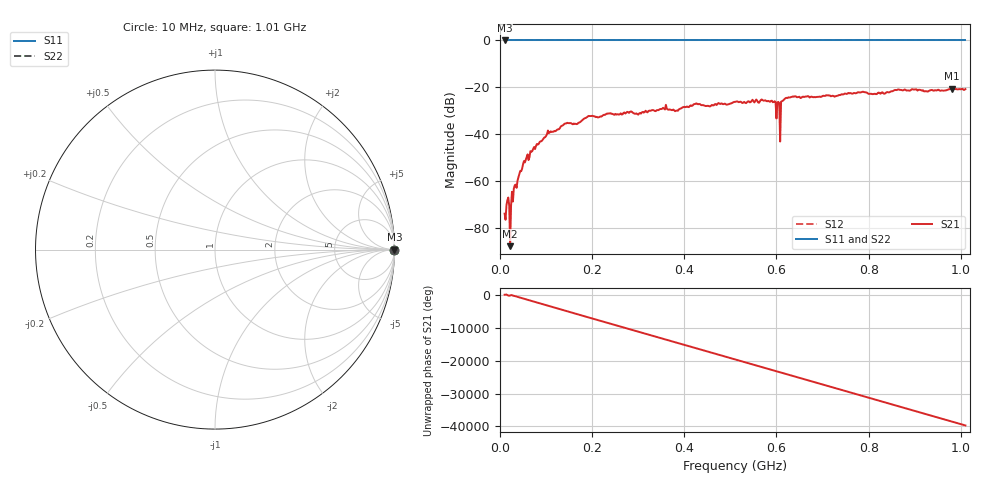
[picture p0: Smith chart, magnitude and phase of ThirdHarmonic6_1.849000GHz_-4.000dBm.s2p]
! 8/16/2025 10:22:16 PM
! C:\ANRITSUVNA\TEMP\TEMP.S2P
! CHANNEL.1
! TR.MEASUREMENT
! RAW.DATA
! RF.CORRECTION.OFF
! AVERAGING.OFF
! IF.BANDWIDTH: 5KHZ
! SWEEPTYPE:  FREQ.SWEEP(Linear)
! Reference Plane Port Info
! PORT:  PORT1  PORT2
! DISTANCE:  0  m  0  m
! TIME:  0  s  0  s
! PHASE.OFFSET:  0  deg.  0  deg.
! LOSS:  0  dB  0  dB
! REF.LOSS:  0  dB  0  dB
! REF.FREQ:  0  Hz  0  Hz
! Power Info
! POWER:  -20  dBm  -20  dBm
! EFF.POWER:  -20  dBm  -20  dBm
! SOURCE.ATTEN:  0  dB  0  dB
! TEST.ATTEN:  0  dB  0  dB
# GHZ S RI R 50.0
! FREQ.GHZ  S11RE  S11IM  S21RE  S21IM  S12RE  S12IM  S22RE  S22IM
!; PortSelection: Port_12
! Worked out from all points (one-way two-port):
!   501 points, 10 MHz to 1.01 GHz, reference 50 ohm
!   highest |S21| = -20.52 dB at 980 MHz (marker M1); lowest = -87.6 dB at 22 MHz (marker M2)
!   lowest |S11| = 0.0 dB at 10 MHz (marker M3)
!   |S11| at or under -10 dB: nowhere
!   |S22| runs from 0.0 to 0.0 dB; largest |S21 - S12| = 1.1
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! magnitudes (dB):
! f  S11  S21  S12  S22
! 10 MHz  0.0  -73.7  0.0  0.0
! 16 MHz  0.0  -68.0  0.0  0.0
! 22 MHz  0.0  -87.6  0.0  0.0
! 24 MHz  0.0  -70.3  0.0  0.0
! 30 MHz  0.0  -63.0  0.0  0.0
! 48 MHz  0.0  -54.6  0.0  0.0
! 70 MHz  0.0  -47.1  0.0  0.0
! 106 MHz  0.0  -39.4  0.0  0.0
! 178 MHz  0.0  -34.0  0.0  0.0
! 196 MHz  0.0  -32.2  0.0  0.0
! 344 MHz  0.0  -29.7  0.0  0.0
! 510 MHz  0.0  -26.1  0.0  0.0
! 594 MHz  0.0  -26.2  0.0  0.0
! 602 MHz  0.0  -26.4  0.0  0.0
! 604 MHz  0.0  -26.1  0.0  0.0
! 612 MHz  0.0  -25.9  0.0  0.0
! 614 MHz  0.0  -25.6  0.0  0.0
! 622 MHz  0.0  -24.4  0.0  0.0
! 678 MHz  0.0  -24.1  0.0  0.0
! 844 MHz  0.0  -22.1  0.0  0.0
! 980 MHz  0.0  -20.5  0.0  0.0
! 1.01 GHz  0.0  -20.7  0.0  0.0
